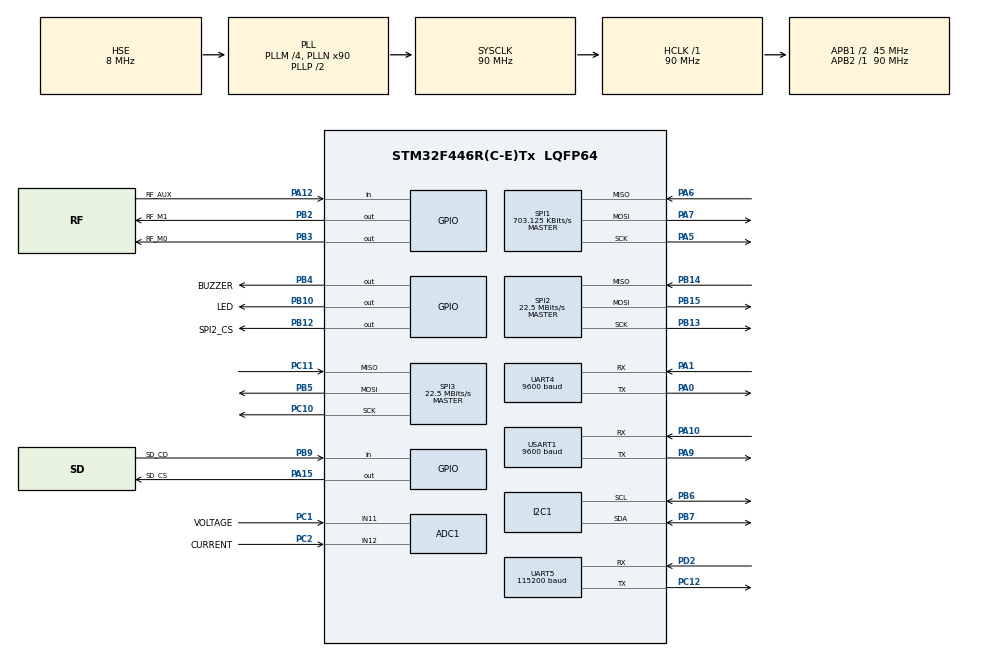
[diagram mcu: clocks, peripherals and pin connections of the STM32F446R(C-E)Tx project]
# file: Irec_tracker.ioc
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ADC1.Channel-0\#ChannelRegularConversion=ADC_CHANNEL_11
ADC1.NbrOfConversionFlag=1
ADC1.Rank-0\#ChannelRegularConversion=1
ADC1.SamplingTime-0\#ChannelRegularConversion=ADC_SAMPLETIME_3CYCLES
ADC1.master=1
Dma.Request0=UART4_RX
Dma.UART4_RX.0.Direction=DMA_PERIPH_TO_MEMORY
Dma.UART4_RX.0.FIFOMode=DMA_FIFOMODE_DISABLE
Dma.UART4_RX.0.Instance=DMA1_Stream2
Dma.UART4_RX.0.MemDataAlignment=DMA_MDATAALIGN_BYTE
Dma.UART4_RX.0.MemInc=DMA_MINC_ENABLE
Dma.UART4_RX.0.Mode=DMA_NORMAL
Dma.UART4_RX.0.PeriphDataAlignment=DMA_PDATAALIGN_BYTE
Dma.UART4_RX.0.PeriphInc=DMA_PINC_DISABLE
Dma.UART4_RX.0.Priority=DMA_PRIORITY_LOW
I2C1.I2C_Mode=I2C_Standard
Mcu.Family=STM32F4
Mcu.Name=STM32F446R(C-E)Tx
Mcu.Package=LQFP64
NVIC.DMA1_Stream2_IRQn=true\:0\:0\:false\:false\:true\:false\:true\:true
NVIC.PriorityGroup=NVIC_PRIORITYGROUP_4
PA0-WKUP.Mode=Asynchronous
PA0-WKUP.Signal=UART4_TX
PA1.Mode=Asynchronous
PA1.Signal=UART4_RX
PA10.Mode=Asynchronous
PA10.Signal=USART1_RX
PA12.GPIO_Label=RF_AUX
PA12.Signal=GPIO_Input
PA13.Mode=Serial_Wire
PA13.Signal=SYS_JTMS-SWDIO
PA14.Mode=Serial_Wire
PA14.Signal=SYS_JTCK-SWCLK
PA15.GPIO_Label=SD_CS
PA15.Signal=GPIO_Output
PA5.GPIO_PuPd=GPIO_PULLUP
PA5.Mode=Full_Duplex_Master
PA5.Signal=SPI1_SCK
PA6.GPIO_PuPd=GPIO_PULLUP
PA6.Mode=Full_Duplex_Master
PA6.Signal=SPI1_MISO
PA7.GPIO_PuPd=GPIO_PULLUP
PA7.Mode=Full_Duplex_Master
PA7.Signal=SPI1_MOSI
PA9.Mode=Asynchronous
PA9.Signal=USART1_TX
PB10.GPIO_Label=LED
PB10.Signal=GPIO_Output
PB12.GPIO_Label=SPI2_CS
PB12.Signal=GPIO_Output
PB13.Mode=Full_Duplex_Master
PB13.Signal=SPI2_SCK
PB14.Mode=Full_Duplex_Master
PB14.Signal=SPI2_MISO
PB15.Mode=Full_Duplex_Master
PB15.Signal=SPI2_MOSI
PB2.GPIO_Label=RF_M1
PB2.Signal=GPIO_Output
PB3.GPIO_Label=RF_M0
PB3.Signal=GPIO_Output
PB4.GPIO_Label=BUZZER
PB4.Signal=GPIO_Output
PB5.GPIO_PuPd=GPIO_PULLUP
PB5.Mode=Full_Duplex_Master
PB5.Signal=SPI3_MOSI
PB6.Mode=I2C
PB6.Signal=I2C1_SCL
PB7.Mode=I2C
PB7.Signal=I2C1_SDA
PB9.GPIO_Label=SD_CD
PB9.Signal=GPIO_Input
PC1.GPIO_Label=VOLTAGE
PC1.Signal=ADCx_IN11
PC10.GPIO_PuPd=GPIO_PULLUP
PC10.Mode=Full_Duplex_Master
PC10.Signal=SPI3_SCK
PC11.GPIO_PuPd=GPIO_PULLUP
PC11.Mode=Full_Duplex_Master
PC11.Signal=SPI3_MISO
PC12.Mode=Asynchronous
PC12.Signal=UART5_TX
PC2.GPIO_Label=CURRENT
PC2.Signal=ADCx_IN12
PD2.Mode=Asynchronous
PD2.Signal=UART5_RX
PH0-OSC_IN.Mode=HSE-External-Oscillator
PH0-OSC_IN.Signal=RCC_OSC_IN
PH1-OSC_OUT.Mode=HSE-External-Oscillator
PH1-OSC_OUT.Signal=RCC_OSC_OUT
ProjectManager.HeapSize=0x200
ProjectManager.StackSize=0x400
ProjectManager.TargetToolchain=STM32CubeIDE
RCC.AHBFreq_Value=90000000
RCC.APB1CLKDivider=RCC_HCLK_DIV2
RCC.APB1Freq_Value=45000000
RCC.APB1TimFreq_Value=90000000
RCC.APB2Freq_Value=90000000
RCC.APB2TimFreq_Value=90000000
RCC.CortexFreq_Value=90000000
RCC.HCLKFreq_Value=90000000
RCC.HSE_VALUE=8000000
RCC.PLLM=4
RCC.PLLN=90
RCC.PLLSourceVirtual=RCC_PLLSOURCE_HSE
RCC.SYSCLKFreq_VALUE=90000000
RCC.SYSCLKSource=RCC_SYSCLKSOURCE_PLLCLK
RCC.USBFreq_Value=90000000
RCC.VCOOutputFreq_Value=180000000
SH.ADCx_IN11.0=ADC1_IN11,IN11
SH.ADCx_IN12.0=ADC1_IN12,IN12
SPI1.BaudRatePrescaler=SPI_BAUDRATEPRESCALER_128
SPI1.CalculateBaudRate=703.125 KBits/s
SPI1.Direction=SPI_DIRECTION_2LINES
SPI1.Mode=SPI_MODE_MASTER
SPI1.VirtualType=VM_MASTER
SPI2.CalculateBaudRate=22.5 MBits/s
SPI2.Direction=SPI_DIRECTION_2LINES
SPI2.Mode=SPI_MODE_MASTER
SPI2.VirtualType=VM_MASTER
SPI3.CalculateBaudRate=22.5 MBits/s
SPI3.Direction=SPI_DIRECTION_2LINES
SPI3.Mode=SPI_MODE_MASTER
SPI3.VirtualType=VM_MASTER
UART4.BaudRate=9600
UART4.VirtualMode=Asynchronous
UART5.BaudRate=115200
UART5.VirtualMode=Asynchronous
USART1.BaudRate=9600
USART1.VirtualMode=VM_ASYNC
VP_FATFS_VS_Generic.Mode=User_defined
board=custom

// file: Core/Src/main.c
/* USER CODE BEGIN Header */
/**
  ******************************************************************************
  * @file           : main.c
  * @brief          : Main program body
  ******************************************************************************
  * @attention
  *
  * Copyright (c) 2025 STMicroelectronics.
  * All rights reserved.
  *
  * This software is licensed under terms that can be found in the LICENSE file
  * in the root directory of this software component.
  * If no LICENSE file comes with this software, it is provided AS-IS.
  *
  ******************************************************************************
  */
/* USER CODE END Header */
#include "main.h"
#include "adc.h"
#include "dma.h"
#include "fatfs.h"
#include "i2c.h"
#include "spi.h"
#include "usart.h"
#include "gpio.h"

/* USER CODE BEGIN Includes */
#include "l86_gnss_parser.h"
#include "e22_lib.h"
#include <stdio.h>
#include <string.h>
#include "data_logger.h"
#include "dataPacking.h"
/* USER CODE END Includes */

/* USER CODE BEGIN PD */
#define LORA_UART_HNDLR		huart1
#define TTL_UART_HNDLR		huart5
#define BME_I2C_HNDLR		hi2c1
#define GPS_UART_HNDLR		huart4
#define DMA_GNSS			hdma_uart4_rx
/* USER CODE END PD */

/* USER CODE BEGIN PV */
e22_conf_struct_t lora_1;
DMA_HandleTypeDef hdma_usart4_rx;
S_GPS_L86_DATA gnss_data;

uint8_t data[100];
uint8_t is_updated_uart4;

/* USER CODE END PV */

void SystemClock_Config(void);
/* USER CODE BEGIN PFP */
void lora_init(void);

/* USER CODE END PFP */

int main(void)
{

  /* MCU Configuration--------------------------------------------------------*/

  /* Reset of all peripherals, Initializes the Flash interface and the Systick. */
  HAL_Init();

  /* Configure the system clock */
  SystemClock_Config();

  /* Initialize all configured peripherals */
  MX_GPIO_Init();
  MX_DMA_Init();
  MX_UART4_Init();
  MX_UART5_Init();
  MX_USART1_UART_Init();
  MX_ADC1_Init();
  MX_I2C1_Init();
  MX_SPI1_Init();
  MX_SPI2_Init();
  MX_SPI3_Init();
  MX_FATFS_Init();
  /* USER CODE BEGIN 2 */

  data_logger_init();

  lora_init();

  HAL_UART_Transmit(&GPS_UART_HNDLR, (uint8_t*)"$PMTK251,57600*2C\r\n", 19, 100);				// 57600 bps
  HAL_Delay(10);
  HAL_UART_DeInit(&GPS_UART_HNDLR);
  HAL_Delay(10);
  GPS_UART_HNDLR.Init.BaudRate = 57600;
  HAL_UART_Init(&GPS_UART_HNDLR);
  HAL_Delay(10);

  for(int i = 0; i < 6; i++)
  {
	  HAL_GPIO_WritePin(BUZZER_GPIO_Port, BUZZER_Pin, GPIO_PIN_SET);
	  HAL_Delay(50);
	  HAL_GPIO_WritePin(BUZZER_GPIO_Port, BUZZER_Pin, GPIO_PIN_RESET);
	  HAL_Delay(50);
  }
  HAL_GPIO_WritePin(BUZZER_GPIO_Port, BUZZER_Pin, GPIO_PIN_SET);
  HAL_Delay(1000);
  HAL_GPIO_WritePin(BUZZER_GPIO_Port, BUZZER_Pin, GPIO_PIN_RESET);

  UsrGpsL86Init(&GPS_UART_HNDLR);

  HAL_ADC_Start(&hadc1);
  /* USER CODE END 2 */

  /* Infinite loop */
  while (1)
  {

    /* USER CODE BEGIN 3 */

/*
	  while (1)
	  {
	      if (__HAL_UART_GET_FLAG(&GPS_UART_HNDLR, UART_FLAG_RXNE))
	      {
	          rx = (uint8_t)(GPS_UART_HNDLR.Instance->DR);
	          HAL_UART_Transmit(&TTL_UART_HNDLR, &rx, 1, 10); // echo
	      }
	  }
*/
	  HAL_ADC_Start(&hadc1);
	 HAL_ADC_PollForConversion(&hadc1, 50);
	 uint32_t voltage_raw = HAL_ADC_GetValue(&hadc1);
	 uint16_t voltage = (uint16_t)(((float)voltage_raw * 13.2 / 4096) * 100);
	 Usr_GpsL86GetValues(&gnss_data);
	 uint8_t *datas = packDatas(&gnss_data, voltage);
	 e22_transmit(&lora_1, datas, &LORA_UART_HNDLR, 64);
	 log_datas(gnss_data.altitudeInMeter, gnss_data.lat, gnss_data.lon, gnss_data.timeDateBuf, 0, 0, 0);
	 HAL_GPIO_WritePin(LED_GPIO_Port, LED_Pin, GPIO_PIN_SET);
	 HAL_Delay(100);
	 HAL_GPIO_WritePin(LED_GPIO_Port, LED_Pin, GPIO_PIN_RESET);
	 HAL_Delay(900);
  }
  /* USER CODE END 3 */
}

void SystemClock_Config(void)
{
  RCC_OscInitTypeDef RCC_OscInitStruct = {0};
  RCC_ClkInitTypeDef RCC_ClkInitStruct = {0};

  /** Configure the main internal regulator output voltage
  */
  __HAL_RCC_PWR_CLK_ENABLE();
  __HAL_PWR_VOLTAGESCALING_CONFIG(PWR_REGULATOR_VOLTAGE_SCALE3);

  /** Initializes the RCC Oscillators according to the specified parameters
  * in the RCC_OscInitTypeDef structure.
  */
  RCC_OscInitStruct.OscillatorType = RCC_OSCILLATORTYPE_HSE;
  RCC_OscInitStruct.HSEState = RCC_HSE_ON;
  RCC_OscInitStruct.PLL.PLLState = RCC_PLL_ON;
  RCC_OscInitStruct.PLL.PLLSource = RCC_PLLSOURCE_HSE;
  RCC_OscInitStruct.PLL.PLLM = 4;
  RCC_OscInitStruct.PLL.PLLN = 90;
  RCC_OscInitStruct.PLL.PLLP = RCC_PLLP_DIV2;
  RCC_OscInitStruct.PLL.PLLQ = 2;
  RCC_OscInitStruct.PLL.PLLR = 2;
  if (HAL_RCC_OscConfig(&RCC_OscInitStruct) != HAL_OK)
  {
    Error_Handler();
  }

  /** Initializes the CPU, AHB and APB buses clocks
  */
  RCC_ClkInitStruct.ClockType = RCC_CLOCKTYPE_HCLK|RCC_CLOCKTYPE_SYSCLK
                              |RCC_CLOCKTYPE_PCLK1|RCC_CLOCKTYPE_PCLK2;
  RCC_ClkInitStruct.SYSCLKSource = RCC_SYSCLKSOURCE_PLLCLK;
  RCC_ClkInitStruct.AHBCLKDivider = RCC_SYSCLK_DIV1;
  RCC_ClkInitStruct.APB1CLKDivider = RCC_HCLK_DIV2;
  RCC_ClkInitStruct.APB2CLKDivider = RCC_HCLK_DIV1;

  if (HAL_RCC_ClockConfig(&RCC_ClkInitStruct, FLASH_LATENCY_2) != HAL_OK)
  {
    Error_Handler();
  }
}

/* USER CODE BEGIN 4 */

void lora_init(void)
{
	HAL_Delay(50);
	lora_1.baud_rate 		= 	E22_BAUD_RATE_115200;
	lora_1.parity_bit		=	E22_PARITY_8N1;
	lora_1.air_rate			=	E22_AIR_DATA_RATE_38400;
	lora_1.packet_size		=	E22_PACKET_SIZE_64;
	lora_1.rssi_noise		=	E22_RSSI_NOISE_DISABLE;
	lora_1.power			=	E22_TRANSMITTING_POWER_22;
	lora_1.rssi_enable		=	E22_ENABLE_RSSI_DISABLE;
	lora_1.mode				= 	E22_TRANSMISSION_MODE_TRANSPARENT;
	lora_1.repeater_func	=	E22_REPEATER_FUNC_DISABLE;
	lora_1.lbt				=	E22_LBT_DISABLE;
	lora_1.wor				=	E22_WOR_RECEIVER;
	lora_1.wor_cycle		=	E22_WOR_CYCLE_1000;
	lora_1.channel			=	(uint8_t)19;
	lora_1.key				=	0;

	lora_1.pins.m0_pin		=	RF_M0_Pin;
	lora_1.pins.m0_pin_port	=	RF_M0_GPIO_Port;
	lora_1.pins.m1_pin		=	RF_M1_Pin;
	lora_1.pins.m1_pin_port	=	RF_M1_GPIO_Port;

	e22_init(&lora_1, &LORA_UART_HNDLR);
	HAL_Delay(10);
	HAL_UART_DeInit(&LORA_UART_HNDLR);
	HAL_Delay(10);
	LORA_UART_HNDLR.Init.BaudRate = 115200;
	HAL_UART_Init(&LORA_UART_HNDLR);
	HAL_Delay(10);

}
/* USER CODE END 4 */

void Error_Handler(void)
{
  __disable_irq();
  while (1)
  {
  }
}
